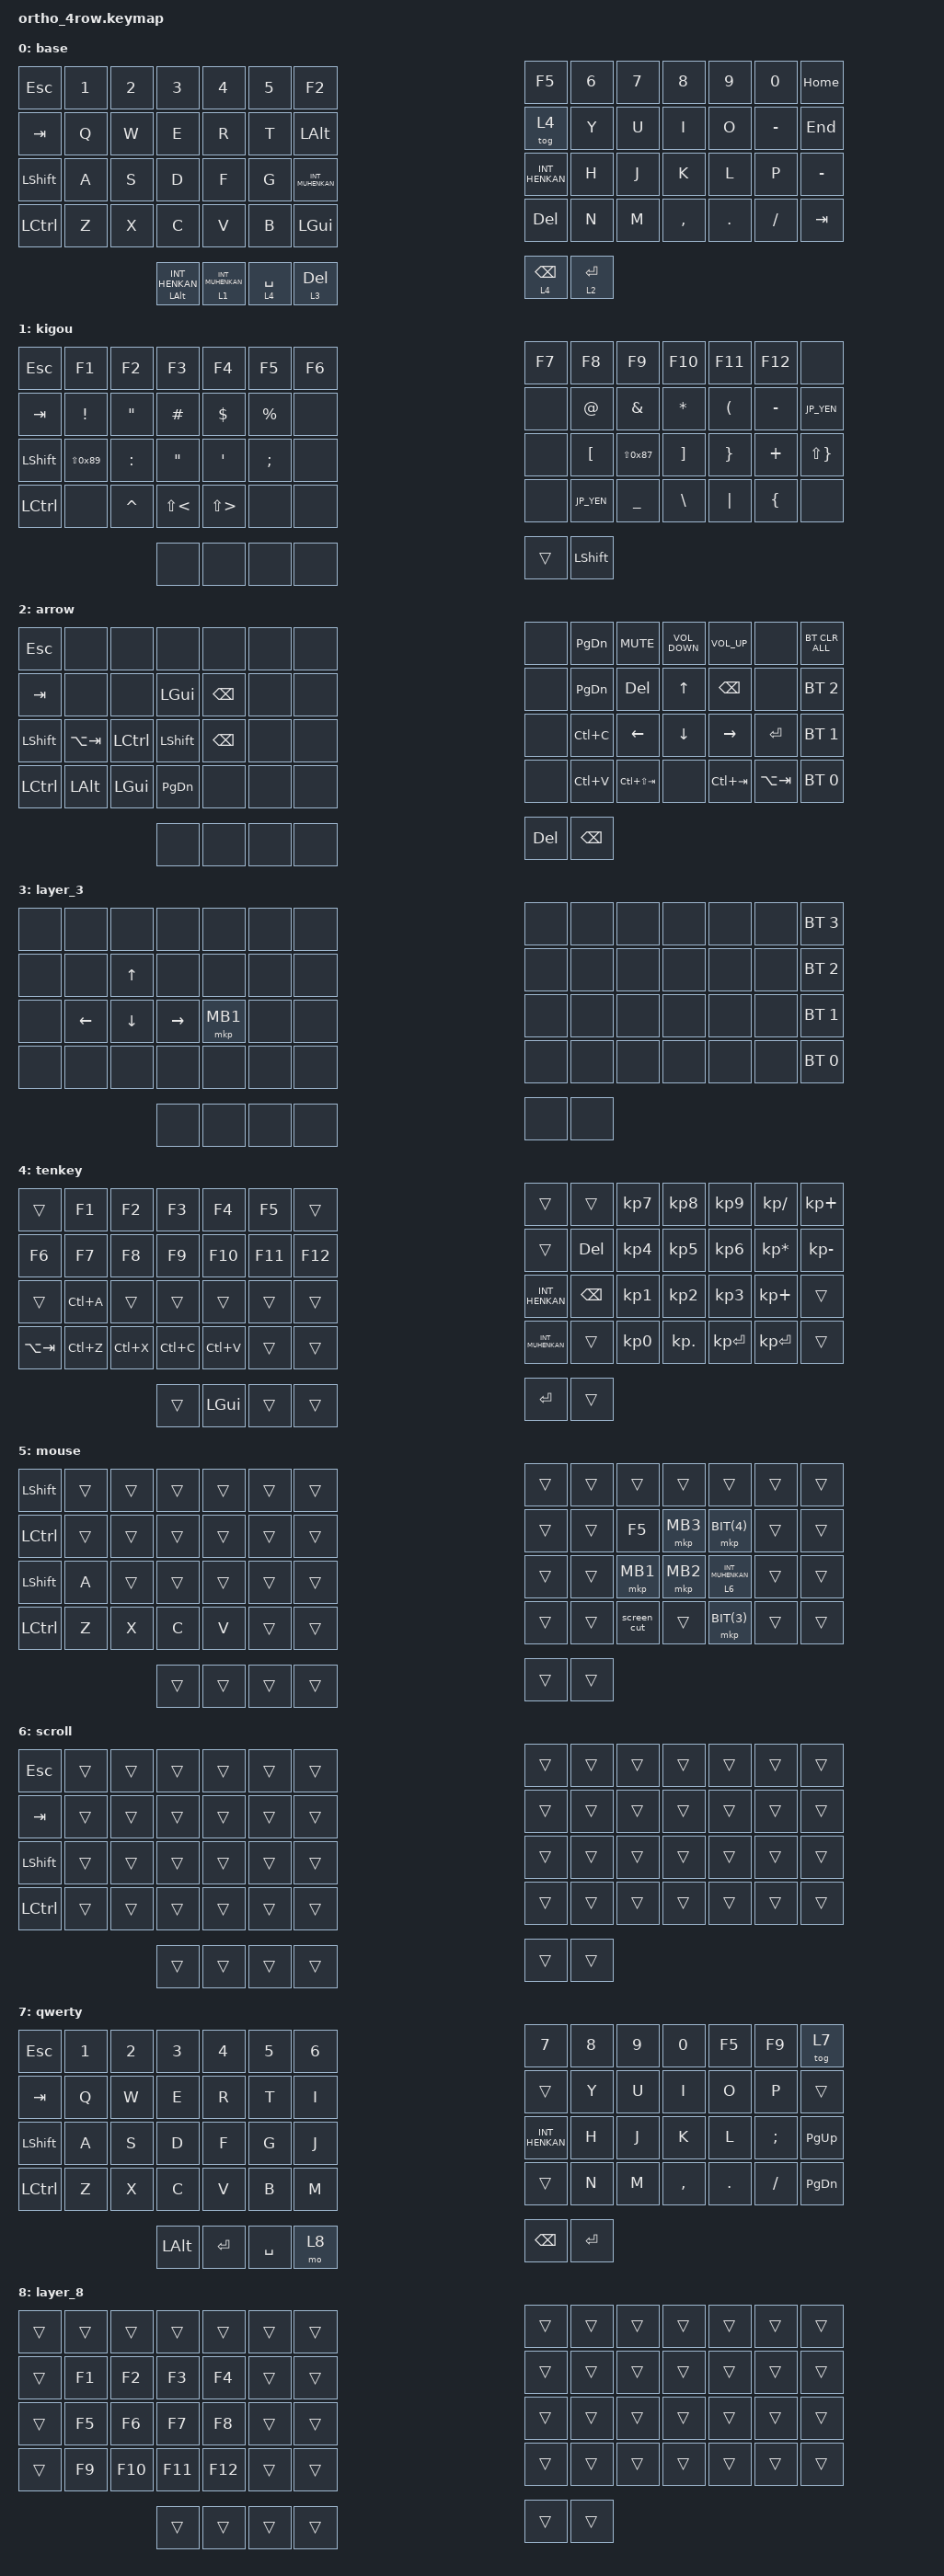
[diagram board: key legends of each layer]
#include <behaviors.dtsi>
#include <dt-bindings/zmk/bt.h>
#include <dt-bindings/zmk/keys.h>
#include <dt-bindings/zmk/pointing.h>

#define JP_DQUOTE       AT                // "
#define JP_AMPERSAND    CARET             // &
#define JP_QUOTE        AMPERSAND         // '
#define JP_EQUAL        UNDER             // =
#define JP_CARET        EQUAL             // ^
#define JP_YEN          0x89              // ¥
#define JP_PLUS         COLON             // +
#define JP_TILDE        PLUS              // ~
#define JP_PIPE         LS(0x89)          // |
#define JP_AT           LEFT_BRACKET      // @
#define JP_COLON        SINGLE_QUOTE      // :
#define JP_ASTERISK     DOUBLE_QUOTES     // *
#define JP_BACKQUOTE    LEFT_BRACE        // `
#define JP_UNDERSCORE   LS(0x87)          // _
#define JP_LBRACKET     RIGHT_BRACKET     // [
#define JP_RBRACKET     BACKSLASH         // ]
#define JP_LPAREN       ASTERISK          // (
#define JP_RPAREN       LEFT_PARENTHESIS  // )
#define JP_LBRACE       RIGHT_BRACE       // {
#define JP_RBRACE       PIPE              // }
#define JP_KANA         LANGUAGE_1        // かな
#define JP_EISU         LANGUAGE_2        // 英数
#define JP_HANZEN       GRAVE             // 半角/全角

// Additional mouse button aliases (MB1-MB3 already defined in zmk/pointing.h)

#define MB4 BIT(3)
#define MB5 BIT(4)

/ {
    macros {
        screen_cut: screen_cut {
            compatible = "zmk,behavior-macro";
            #binding-cells = <0>;
            bindings = <&kp LC(LA(LGUI)) &kp PAGE_DOWN>;
            label = "SCREEN_CUT";
        };
    };

    keymap {
        compatible = "zmk,keymap";

        base {
            bindings = <
&kp ESC         &kp NUMBER_1  &kp NUMBER_2  &kp NUMBER_3             &kp NUMBER_4        &kp N5       &kp F2            &kp F5           &kp N6       &kp N7  &kp N8     &kp N9   &kp N0     &kp HOME
&kp TAB         &kp Q         &kp W         &kp E                    &kp R               &kp T        &kp LALT          &tog 4           &kp Y        &kp U   &kp I      &kp O    &kp MINUS  &kp END
&kp LEFT_SHIFT  &kp A         &kp S         &kp D                    &kp F               &kp G        &kp INT_MUHENKAN  &kp INT_HENKAN   &kp H        &kp J   &kp K      &kp L    &kp P      &kp MINUS
&kp LCTRL       &kp Z         &kp X         &kp C                    &kp V               &kp B        &kp LGUI          &kp DELETE       &kp N        &kp M   &kp COMMA  &kp DOT  &kp FSLH   &kp TAB
                                            &mt LEFT_ALT INT_HENKAN  &lt 1 INT_MUHENKAN  &lt 4 SPACE  &lt 3 DELETE      &lt 4 BACKSPACE  &lt 2 ENTER
            >;
        };

        kigou {
            bindings = <
&kp ESC    &kp F1           &kp F2             &kp F3           &kp F4                &kp F5       &kp F6  &kp F7  &kp F8         &kp F9             &kp F10          &kp F11        &kp F12           &none
&kp TAB    &kp EXCLAMATION  &kp DOUBLE_QUOTES  &kp POUND        &kp DOLLAR            &kp PERCENT  &none   &none   &kp JP_DQUOTE  &kp JP_QUOTE       &kp JP_LPAREN    &kp JP_RPAREN  &kp MINUS         &kp JP_YEN
&kp LSHFT  &kp JP_PIPE      &kp JP_PLUS        &kp JP_ASTERISK  &kp JP_COLON          &kp SEMI     &none   &none   &kp JP_AT      &kp JP_UNDERSCORE  &kp JP_LBRACKET  &kp JP_LBRACE  &kp JP_TILDE      &kp LS(RBRC)
&kp LCTRL  &none            &kp JP_AMPERSAND   &kp LS(LT)       &kp LS(GREATER_THAN)  &none        &none   &none   &kp JP_YEN     &kp JP_EQUAL       &kp JP_RBRACKET  &kp JP_RBRACE  &kp JP_BACKQUOTE  &none
                                               &none            &none                 &none        &none   &trans  &kp LSHFT
            >;
        };

        arrow {
            bindings = <
&kp ESC    &none        &none      &none          &none     &none  &none  &none    &kp PAGE_DOWN  &kp K_MUTE       &kp C_VOLUME_DOWN  &kp C_VOLUME_UP  &none        &bt BT_CLR_ALL
&kp TAB    &none        &none      &kp LGUI       &kp BSPC  &none  &none  &none    &kp PAGE_DOWN  &kp DEL          &kp UP_ARROW       &kp BSPC         &none        &bt BT_SEL 2
&kp LSHFT  &kp LA(TAB)  &kp LCTRL  &kp LSHFT      &kp BSPC  &none  &none  &none    &kp LC(C)      &kp LEFT         &kp DOWN           &kp RIGHT        &kp ENTER    &bt BT_SEL 1
&kp LCTRL  &kp LALT     &kp LGUI   &kp PAGE_DOWN  &none     &none  &none  &none    &kp LC(V)      &kp LC(LS(TAB))  &none              &kp LC(TAB)      &kp LA(TAB)  &bt BT_SEL 0
                                   &none          &none     &none  &none  &kp DEL  &kp BSPC
            >;
        };

        layer_3 {
            bindings = <
&none  &none     &none         &none      &none     &none  &none  &none  &none  &none  &none  &none  &none  &bt BT_SEL 3
&none  &none     &kp UP_ARROW  &none      &none     &none  &none  &none  &none  &none  &none  &none  &none  &bt BT_SEL 2
&none  &kp LEFT  &kp DOWN      &kp RIGHT  &mkp MB1  &none  &none  &none  &none  &none  &none  &none  &none  &bt BT_SEL 1
&none  &none     &none         &none      &none     &none  &none  &none  &none  &none  &none  &none  &none  &bt BT_SEL 0
                               &none      &none     &none  &none  &none  &none
            >;
        };

        tenkey {
            bindings = <
&trans       &kp F1     &kp F2     &kp F3     &kp F4     &kp F5   &trans   &trans            &trans         &kp KP_NUMBER_7  &kp KP_NUMBER_8  &kp KP_NUMBER_9  &kp KP_SLASH     &kp KP_PLUS
&kp F6       &kp F7     &kp F8     &kp F9     &kp F10    &kp F11  &kp F12  &trans            &kp DELETE     &kp KP_NUMBER_4  &kp KP_NUMBER_5  &kp KP_NUMBER_6  &kp KP_MULTIPLY  &kp KP_MINUS
&trans       &kp LC(A)  &trans     &trans     &trans     &trans   &trans   &kp INT_HENKAN    &kp BACKSPACE  &kp KP_NUMBER_1  &kp KP_NUMBER_2  &kp KP_NUMBER_3  &kp KP_PLUS      &trans
&kp LA(TAB)  &kp LC(Z)  &kp LC(X)  &kp LC(C)  &kp LC(V)  &trans   &trans   &kp INT_MUHENKAN  &trans         &kp KP_NUMBER_0  &kp KP_DOT       &kp KP_ENTER     &kp KP_ENTER     &trans
                                   &trans     &kp LGUI   &trans   &trans   &kp ENTER         &trans
            >;
        };

        mouse {
            bindings = <
&kp LSHFT  &trans  &trans  &trans  &trans  &trans  &trans  &trans  &trans  &trans       &trans    &trans              &trans  &trans
&kp LCTRL  &trans  &trans  &trans  &trans  &trans  &trans  &trans  &trans  &kp F5       &mkp MB3  &mkp MB5            &trans  &trans
&kp LSHFT  &kp A   &trans  &trans  &trans  &trans  &trans  &trans  &trans  &mkp MB1     &mkp MB2  &lt 6 INT_MUHENKAN  &trans  &trans
&kp LCTRL  &kp Z   &kp X   &kp C   &kp V   &trans  &trans  &trans  &trans  &screen_cut  &trans    &mkp MB4            &trans  &trans
                           &trans  &trans  &trans  &trans  &trans  &trans
            >;
        };

        scroll {
            bindings = <
&kp ESC    &trans  &trans  &trans  &trans  &trans  &trans  &trans  &trans  &trans  &trans  &trans  &trans  &trans
&kp TAB    &trans  &trans  &trans  &trans  &trans  &trans  &trans  &trans  &trans  &trans  &trans  &trans  &trans
&kp LSHFT  &trans  &trans  &trans  &trans  &trans  &trans  &trans  &trans  &trans  &trans  &trans  &trans  &trans
&kp LCTRL  &trans  &trans  &trans  &trans  &trans  &trans  &trans  &trans  &trans  &trans  &trans  &trans  &trans
                           &trans  &trans  &trans  &trans  &trans  &trans
            >;
        };

        qwerty {
            bindings = <
&kp ESC    &kp N1  &kp N2  &kp N3        &kp N4     &kp N5     &kp N6  &kp N7          &kp N8     &kp N9  &kp N0     &kp F5   &kp F9    &tog 7
&kp TAB    &kp Q   &kp W   &kp E         &kp R      &kp T      &kp I   &trans          &kp Y      &kp U   &kp I      &kp O    &kp P     &trans
&kp LSHFT  &kp A   &kp S   &kp D         &kp F      &kp G      &kp J   &kp INT_HENKAN  &kp H      &kp J   &kp K      &kp L    &kp SEMI  &kp PAGE_UP
&kp LCTRL  &kp Z   &kp X   &kp C         &kp V      &kp B      &kp M   &trans          &kp N      &kp M   &kp COMMA  &kp DOT  &kp FSLH  &kp PAGE_DOWN
                           &kp LEFT_ALT  &kp ENTER  &kp SPACE  &mo 8   &kp BACKSPACE   &kp ENTER
            >;
        };

        layer_8 {
            bindings = <
&trans  &trans  &trans   &trans   &trans   &trans  &trans  &trans  &trans  &trans  &trans  &trans  &trans  &trans
&trans  &kp F1  &kp F2   &kp F3   &kp F4   &trans  &trans  &trans  &trans  &trans  &trans  &trans  &trans  &trans
&trans  &kp F5  &kp F6   &kp F7   &kp F8   &trans  &trans  &trans  &trans  &trans  &trans  &trans  &trans  &trans
&trans  &kp F9  &kp F10  &kp F11  &kp F12  &trans  &trans  &trans  &trans  &trans  &trans  &trans  &trans  &trans
                         &trans   &trans   &trans  &trans  &trans  &trans
            >;
        };
    };
};
